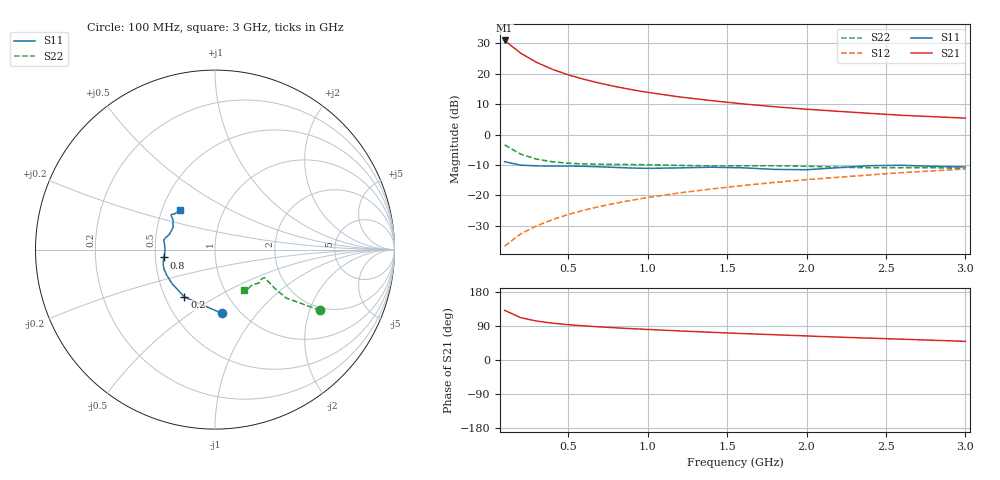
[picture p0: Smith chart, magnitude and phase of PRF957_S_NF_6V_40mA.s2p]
! Philips part #:  PRF957  Date:  Nov 1998
! Bias condition:  Vce=6V, Ic=40mA
#  MHz  S  MA  R 50
! Freq  S11  S21  S12  S22
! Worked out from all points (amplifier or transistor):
!   20 points, 100 MHz to 3 GHz, reference 50 ohm
!   highest |S21| = 31.0 dB at 100 MHz (marker M1)
!   |S21| within 3 dB of that: start of sweep to 172.4 MHz
!   unconditionally stable (mu >= 1): 541.3 MHz to end of sweep
!   at 400 MHz: K = 0.97, MSG = 24.7 dB, |S12| = -28.0 dB
!   at 1.2 GHz: K = 1.05, MAG = 14.4 dB, |S12| = -19.2 dB
!   at 3 GHz: K = 1.03, MAG = 7.4 dB, |S12| = -11.3 dB
!   lowest NFmin = 2.10 dB at 500 MHz
!   S11 on the Smith chart (normalised r, x): 100 MHz: 0.83, -0.68; 200 MHz: 0.63, -0.37; 800 MHz: 0.56, -0.05; 3 GHz: 0.62, +0.30
100  0.3582 -83.6  35.28 131.1  0.01461 69.2  0.676 -30.0
200  0.3145 -122.9  21.9 111.9  0.0232 69.6  0.4779 -34.3
300  0.3052 -142.0  15.44 102.8  0.03138 72.1  0.3953 -32.9
400  0.3043 -152.6  11.86 97.2  0.03984 74.3  0.3569 -31.4
500  0.3038 -159.2  9.615 93.2  0.04851 75.8  0.3378 -30.6
600  0.3006 -163.7  8.091 90.1  0.05709 76.8  0.3286 -30.2
700  0.295 -167.5  6.984 87.4  0.06581 77.4  0.325 -30.0
800  0.2879 -171.3  6.144 84.9  0.07452 77.8  0.3234 -29.8
900  0.2815 -175.3  5.476 82.7  0.08325 78.1  0.3214 -29.6
1000  0.2785 -179.5  4.95 80.6  0.09205 78.2  0.3188 -29.6
1200  0.2831 173.5  4.162 76.8  0.1098 78.0  0.3111 -30.5
1400  0.2906 169.6  3.618 73.1  0.1272 77.6  0.3058 -33.1
1600  0.2839 166.8  3.194 69.7  0.1452 77.1  0.3067 -35.8
1800  0.2675 161.4  2.867 66.7  0.1636 76.3  0.3073 -37.5
2000  0.2643 152.3  2.611 63.5  0.1812 75.8  0.3015 -38.8
2200  0.2851 145.0  2.412 60.4  0.1986 75.0  0.2906 -41.6
2400  0.3079 142.3  2.232 57.6  0.2169 74.0  0.2844 -45.7
2600  0.3126 141.3  2.075 54.9  0.237 72.9  0.2857 -49.5
2800  0.3 138.2  1.965 52.0  0.2535 72.3  0.2856 -51.8
3000  0.2936 130.9  1.864 49.2  0.2715 71.6  0.2779 -53.9
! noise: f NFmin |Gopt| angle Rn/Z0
500  2.1  0.29  -129  0.13
800  2.4  0.28  178  0.1
900  2.46  0.36  173  0.08
1000  2.6  0.2  155  0.22
1500  2.89  0.39  -133  0.28
2000  2.89  0.39  -133  0.28
